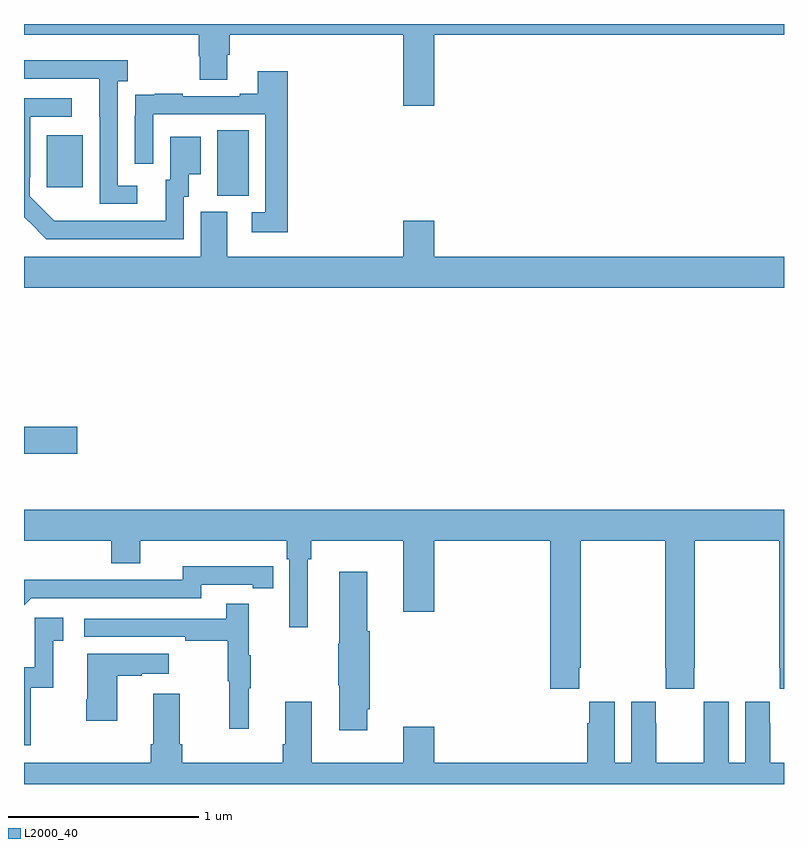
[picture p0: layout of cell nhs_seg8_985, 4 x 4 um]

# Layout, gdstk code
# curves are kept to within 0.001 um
import gdstk
lib = gdstk.Library(unit=1e-6, precision=1e-09)
def R(c, l, rs):  # rectangles x0, y0, x1, y1
    for r in rs: c.add(gdstk.rectangle(r[:2], r[2:], *l))
def P(c, l, *ps):  # polygons
    for p in ps: c.add(gdstk.Polygon(p, *l))
L2000_40 = (2000, 40)

nhs_seg8_985 = lib.new_cell('nhs_seg8_985')
R(nhs_seg8_985, L2000_40, [(175,1103.638,175.279,1103.78), (176.018,1104.997,176.182,1105.34), (175.121,1105.041,175.309,1105.315)])
P(nhs_seg8_985, L2000_40, [(175,1105.844),(175.919,1105.844),(175.919,1105.731),(175.924,1105.731),(175.924,1105.606),(176.071,1105.606),(176.071,1105.738),(176.084,1105.738),(176.084,1105.844),(176.996,1105.844),(176.996,1105.47),(177.16,1105.47),(177.16,1105.844),(179,1105.844),(179,1105.9),(175,1105.9)],
  [(175.597,1105.05),(175.494,1105.05),(175.494,1105.598),(175.546,1105.598),(175.546,1105.708),(175,1105.708),(175,1105.611),(175.397,1105.611),(175.397,1105.411),(175.398,1105.411),(175.398,1104.954),(175.597,1104.954)],
  [(176.387,1105.651),(176.231,1105.651),(176.231,1105.534),(176.135,1105.534),(176.135,1105.521),(175.835,1105.521),(175.835,1105.534),(175.687,1105.534),(175.687,1105.527),(175.585,1105.527),(175.585,1105.418),(175.584,1105.418),(175.584,1105.164),(175.68,1105.164),(175.68,1105.425),(176.271,1105.425),(176.271,1104.909),(176.199,1104.909),(176.199,1104.804),(176.387,1104.804)],
  [(175.842,1104.99),(175.867,1104.99),(175.867,1105.109),(175.93,1105.109),(175.93,1105.306),(175.769,1105.306),(175.769,1105.08),(175.745,1105.08),(175.745,1104.864),(175.158,1104.865),(175.029,1104.993),(175.029,1105.093),(175.032,1105.093),(175.032,1105.413),(175.252,1105.413),(175.252,1105.509),(175,1105.509),(175,1104.884),(175.026,1104.858),(175.027,1104.859),(175.118,1104.768),(175.842,1104.768)],
  [(179,1104.676),(177.16,1104.676),(177.16,1104.865),(176.996,1104.865),(176.996,1104.676),(176.071,1104.676),(176.071,1104.912),(175.931,1104.912),(175.931,1104.676),(175,1104.676),(175,1104.512),(179,1104.512)],
  [(177.923,1102.513),(177.93,1102.513),(177.93,1103.18),(178.375,1103.18),(178.375,1102.513),(178.377,1102.513),(178.377,1102.401),(178.527,1102.401),(178.527,1102.513),(178.53,1102.513),(178.53,1103.18),(178.975,1103.18),(178.975,1102.513),(178.977,1102.513),(178.977,1102.401),(179,1102.401),(179,1103.344),(175,1103.344),(175,1103.18),(175.46,1103.18),(175.46,1103.063),(175.612,1103.063),(175.612,1103.18),(176.384,1103.18),(176.384,1103.084),(176.397,1103.084),(176.397,1102.725),(176.494,1102.725),(176.494,1103.084),(176.513,1103.084),(176.513,1103.18),(176.996,1103.18),(176.996,1102.806),(177.16,1102.806),(177.16,1103.18),(177.77,1103.18),(177.77,1102.401),(177.923,1102.401)],
  [(175.038,1102.878),(175.932,1102.878),(175.932,1102.95),(176.204,1102.95),(176.204,1102.93),(176.312,1102.93),(176.312,1103.046),(175.836,1103.047),(175.836,1102.974),(175.376,1102.974),(175.376,1102.976),(175,1102.976),(175,1102.84)],
  [(176.806,1102.294),(176.819,1102.294),(176.819,1102.704),(176.806,1102.704),(176.806,1103.017),(176.66,1103.017),(176.66,1102.637),(176.653,1102.637),(176.653,1102.42),(176.66,1102.42),(176.66,1102.182),(176.806,1102.182)],
  [(176.183,1102.403),(176.194,1102.403),(176.194,1102.577),(176.183,1102.577),(176.183,1102.849),(176.065,1102.849),(176.065,1102.77),(175.317,1102.77),(175.317,1102.674),(175.849,1102.674),(175.849,1102.654),(176.073,1102.654),(176.073,1102.44),(176.08,1102.44),(176.08,1102.191),(176.183,1102.191)],
  [(175.036,1102.407),(175.154,1102.407),(175.154,1102.653),(175.207,1102.653),(175.207,1102.774),(175.056,1102.774),(175.056,1102.515),(175,1102.515),(175,1102.104),(175.036,1102.104)],
  [(175.492,1102.471),(175.619,1102.471),(175.619,1102.481),(175.762,1102.481),(175.762,1102.585),(175.334,1102.585),(175.334,1102.345),(175.327,1102.345),(175.327,1102.233),(175.492,1102.233)],
  [(175.679,1102.375),(175.679,1102.108),(175.667,1102.108),(175.667,1102.012),(175,1102.012),(175,1101.9),(179,1101.9),(179,1102.012),(178.927,1102.012),(178.927,1102.22),(178.926,1102.22),(178.926,1102.333),(178.796,1102.333),(178.796,1102.012),(178.708,1102.012),(178.708,1102.333),(178.578,1102.333),(178.578,1102.22),(178.577,1102.22),(178.577,1102.012),(178.327,1102.012),(178.327,1102.22),(178.326,1102.22),(178.326,1102.333),(178.196,1102.333),(178.196,1102.012),(178.108,1102.012),(178.108,1102.333),(177.974,1102.333),(177.974,1102.22),(177.965,1102.22),(177.965,1102.012),(177.16,1102.012),(177.16,1102.201),(176.996,1102.201),(176.996,1102.012),(176.515,1102.012),(176.515,1102.333),(176.375,1102.333),(176.375,1102.108),(176.363,1102.108),(176.363,1102.012),(175.832,1102.012),(175.832,1102.108),(175.819,1102.108),(175.819,1102.375)])

lib.write_gds('nhs_seg8_985.gds')
